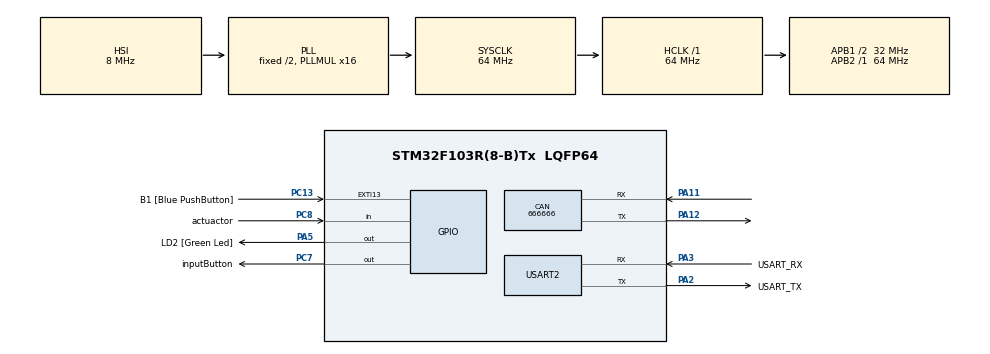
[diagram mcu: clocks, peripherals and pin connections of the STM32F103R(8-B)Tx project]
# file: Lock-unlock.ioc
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CAN.CalculateBaudRate=666666
CAN.CalculateTimeBit=1500
CAN.CalculateTimeQuantum=500.0
FREERTOS.Tasks01=defaultTask,0,128,StartDefaultTask,Default,NULL,Dynamic,NULL,NULL
FREERTOS.configUSE_NEWLIB_REENTRANT=1
Mcu.Family=STM32F1
Mcu.Name=STM32F103R(8-B)Tx
Mcu.Package=LQFP64
NVIC.EXTI15_10_IRQn=true\:5\:0\:false\:false\:true\:true\:true\:true\:true
NVIC.PriorityGroup=NVIC_PRIORITYGROUP_4
NVIC.TIM4_IRQn=true\:15\:0\:false\:false\:true\:false\:false\:true\:true
NVIC.TimeBase=TIM4_IRQn
NVIC.TimeBaseIP=TIM4
PA11.Mode=CAN_Activate
PA11.Signal=CAN_RX
PA12.Mode=CAN_Activate
PA12.Signal=CAN_TX
PA13.GPIO_Label=TMS
PA13.Mode=Serial_Wire
PA13.Signal=SYS_JTMS-SWDIO
PA14.GPIO_Label=TCK
PA14.Mode=Serial_Wire
PA14.Signal=SYS_JTCK-SWCLK
PA2.GPIO_Label=USART_TX
PA2.GPIO_Mode=GPIO_MODE_AF_PP
PA2.GPIO_PuPd=GPIO_NOPULL
PA2.GPIO_Speed=GPIO_SPEED_FREQ_LOW
PA2.Mode=Asynchronous
PA2.Signal=USART2_TX
PA3.GPIO_Label=USART_RX
PA3.GPIO_Mode=GPIO_MODE_AF_PP
PA3.GPIO_PuPd=GPIO_NOPULL
PA3.GPIO_Speed=GPIO_SPEED_FREQ_LOW
PA3.Mode=Asynchronous
PA3.Signal=USART2_RX
PA5.GPIO_Label=LD2 [Green Led]
PA5.GPIO_ModeDefaultOutputPP=GPIO_MODE_OUTPUT_PP
PA5.GPIO_PuPd=GPIO_NOPULL
PA5.GPIO_Speed=GPIO_SPEED_FREQ_LOW
PA5.Signal=GPIO_Output
PB3.GPIO_Label=SWO
PB3.Signal=SYS_JTDO-TRACESWO
PC13-TAMPER-RTC.GPIO_Label=B1 [Blue PushButton]
PC13-TAMPER-RTC.GPIO_ModeDefaultEXTI=GPIO_MODE_IT_FALLING
PC13-TAMPER-RTC.GPIO_PuPd=GPIO_NOPULL
PC13-TAMPER-RTC.Signal=GPXTI13
PC14-OSC32_IN.Mode=LSE-External-Oscillator
PC14-OSC32_IN.Signal=RCC_OSC32_IN
PC15-OSC32_OUT.Mode=LSE-External-Oscillator
PC15-OSC32_OUT.Signal=RCC_OSC32_OUT
PC7.GPIO_Label=inputButton
PC7.Signal=GPIO_Output
PC8.GPIO_Label=actuactor
PC8.Signal=GPIO_Input
PD0-OSC_IN.Mode=HSE-External-Clock-Source
PD0-OSC_IN.Signal=RCC_OSC_IN
PD1-OSC_OUT.Mode=HSE-External-Clock-Source
PD1-OSC_OUT.Signal=RCC_OSC_OUT
ProjectManager.HeapSize=0x200
ProjectManager.StackSize=0x400
ProjectManager.TargetToolchain=STM32CubeIDE
RCC.AHBFreq_Value=64000000
RCC.APB1CLKDivider=RCC_HCLK_DIV2
RCC.APB1Freq_Value=32000000
RCC.APB1TimFreq_Value=64000000
RCC.APB2Freq_Value=64000000
RCC.APB2TimFreq_Value=64000000
RCC.HCLKFreq_Value=64000000
RCC.PLLMUL=RCC_PLL_MUL16
RCC.SYSCLKFreq_VALUE=64000000
RCC.SYSCLKSource=RCC_SYSCLKSOURCE_PLLCLK
RCC.USBFreq_Value=64000000
USART2.VirtualMode=VM_ASYNC
VP_FREERTOS_VS_CMSIS_V1.Mode=CMSIS_V1
VP_SYS_VS_tim4.Mode=TIM4
board=NUCLEO-F103RB

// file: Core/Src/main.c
/* USER CODE BEGIN Header */
/**
  ******************************************************************************
  * @file           : main.c
  * @brief          : Main program body
  ******************************************************************************
  * @attention
  *
  * Copyright (c) 2025 STMicroelectronics.
  * All rights reserved.
  *
  * This software is licensed under terms that can be found in the LICENSE file
  * in the root directory of this software component.
  * If no LICENSE file comes with this software, it is provided AS-IS.
  *
  ******************************************************************************
  */
/* USER CODE END Header */
#include "main.h"
#include "cmsis_os.h"

/* USER CODE BEGIN Includes */
#include <stdio.h>
#include "myprintf.h"
// comentario de Luis
/* USER CODE END Includes */

/* USER CODE BEGIN PTD */
//COMEGNARIO TEST
/* USER CODE END PTD */

CAN_HandleTypeDef hcan;

UART_HandleTypeDef huart2;

osThreadId defaultTaskHandle;
/* USER CODE BEGIN PV */
TaskHandle_t TaskTempHandle;
TaskHandle_t TaskSpeedHandle;
//TaskHandle_t TaskRxHandle;

osThreadId TempTaskHandle;
osThreadId SpeedTaskHandle;
//osThreadId RxTaskHandle;

int16_t temperature = 0;
uint8_t	speed = 0;
uint8_t button_status = 0;

CAN_TxHeaderTypeDef SpeedTxHeader;
CAN_TxHeaderTypeDef TempTxHeader;
CAN_RxHeaderTypeDef RxHeader;
uint8_t TxData = 0x01;
uint8_t RxData[8] = {0};
uint32_t txMailbox;
CAN_FilterTypeDef sf;

osMutexId canMutexHandle;

/* USER CODE END PV */

void SystemClock_Config(void);
static void MX_GPIO_Init(void);
static void MX_CAN_Init(void);
static void MX_USART2_UART_Init(void);
void StartDefaultTask(void const * argument);

/* USER CODE BEGIN PFP */
void StartTempTask(void const * argument);
void StartSpeedTask(void const * argument);
//void StartRxTask(void const * argument);
/* USER CODE END PFP */

/* USER CODE BEGIN 0 */
/*osThreadDef(SpeedTask, StartSpeedTask, osPriorityNormal, 0, 128);
osThreadDef(TempTask, StartTempTask, osPriorityNormal, 0, 128);
osThreadDef(RxTask, StartRxTask, osPriorityHigh, 0, 128);*/
/* USER CODE END 0 */

int main(void)
{

  /* MCU Configuration--------------------------------------------------------*/

  /* Reset of all peripherals, Initializes the Flash interface and the Systick. */
  HAL_Init();

  /* Configure the system clock */
  SystemClock_Config();

  /* Initialize all configured peripherals */
  MX_GPIO_Init();
  MX_CAN_Init();
  MX_USART2_UART_Init();
  /* USER CODE BEGIN 2 */

  RetargetInit(&huart2);

  printf("Iniciando sistema...\r\n");

      /* USER CODE BEGIN 3 */

  /* USER CODE END 2 */

  /* USER CODE BEGIN RTOS_MUTEX */
  /* add mutexes, ... */
  osMutexDef(canMutex);
  canMutexHandle = osMutexCreate(osMutex(canMutex));
  /* USER CODE END RTOS_MUTEX */

  /* Create the thread(s) */
  /* definition and creation of defaultTask */
  osThreadDef(defaultTask, StartDefaultTask, osPriorityNormal, 0, 128);
  defaultTaskHandle = osThreadCreate(osThread(defaultTask), NULL);

  /* USER CODE BEGIN RTOS_THREADS */
  /* add threads, ... */
  osThreadDef(SpeedTask, StartSpeedTask, osPriorityNormal, 0, 512);
  osThreadDef(TempTask, StartTempTask, osPriorityNormal, 0, 512);
//  osThreadDef(RxTask, StartRxTask, osPriorityHigh, 0, 512);

  SpeedTaskHandle = osThreadCreate(osThread(SpeedTask), NULL);
  TempTaskHandle = osThreadCreate(osThread(TempTask), NULL);
//  RxTaskHandle = osThreadCreate(osThread(RxTask), NULL);

  //xTaskCreate(StartSpeedTask, "TaskSpeed", 128, NULL, 1, &TaskSpeedHandle);
  //xTaskCreate(StartTempTask, "TaskTemp", 128, NULL, 1, &TaskTempHandle);
  //xTaskCreate(StartRxTask, "TaskRx", 128, NULL, 2, &TaskRxHandle);
  /* USER CODE END RTOS_THREADS */

  /* Start scheduler */
  osKernelStart();

  /* We should never get here as control is now taken by the scheduler */

  /* Infinite loop */
  while (1)
  {

  }
}

void SystemClock_Config(void)
{
  RCC_OscInitTypeDef RCC_OscInitStruct = {0};
  RCC_ClkInitTypeDef RCC_ClkInitStruct = {0};

  /** Initializes the RCC Oscillators according to the specified parameters
  * in the RCC_OscInitTypeDef structure.
  */
  RCC_OscInitStruct.OscillatorType = RCC_OSCILLATORTYPE_HSI;
  RCC_OscInitStruct.HSIState = RCC_HSI_ON;
  RCC_OscInitStruct.HSICalibrationValue = RCC_HSICALIBRATION_DEFAULT;
  RCC_OscInitStruct.PLL.PLLState = RCC_PLL_ON;
  RCC_OscInitStruct.PLL.PLLSource = RCC_PLLSOURCE_HSI_DIV2;
  RCC_OscInitStruct.PLL.PLLMUL = RCC_PLL_MUL16;
  if (HAL_RCC_OscConfig(&RCC_OscInitStruct) != HAL_OK)
  {
    Error_Handler();
  }

  /** Initializes the CPU, AHB and APB buses clocks
  */
  RCC_ClkInitStruct.ClockType = RCC_CLOCKTYPE_HCLK|RCC_CLOCKTYPE_SYSCLK
                              |RCC_CLOCKTYPE_PCLK1|RCC_CLOCKTYPE_PCLK2;
  RCC_ClkInitStruct.SYSCLKSource = RCC_SYSCLKSOURCE_PLLCLK;
  RCC_ClkInitStruct.AHBCLKDivider = RCC_SYSCLK_DIV1;
  RCC_ClkInitStruct.APB1CLKDivider = RCC_HCLK_DIV2;
  RCC_ClkInitStruct.APB2CLKDivider = RCC_HCLK_DIV1;

  if (HAL_RCC_ClockConfig(&RCC_ClkInitStruct, FLASH_LATENCY_2) != HAL_OK)
  {
    Error_Handler();
  }
}

static void MX_CAN_Init(void)
{

  hcan.Instance = CAN1;
  hcan.Init.Prescaler = 4;
  hcan.Init.Mode = CAN_MODE_NORMAL;
  hcan.Init.SyncJumpWidth = CAN_SJW_1TQ;
  hcan.Init.TimeSeg1 = CAN_BS1_13TQ;
  hcan.Init.TimeSeg2 = CAN_BS2_2TQ;
  hcan.Init.TimeTriggeredMode = DISABLE;
  hcan.Init.AutoBusOff = DISABLE;
  hcan.Init.AutoWakeUp = DISABLE;
  hcan.Init.AutoRetransmission = ENABLE;
  hcan.Init.ReceiveFifoLocked = DISABLE;
  hcan.Init.TransmitFifoPriority = DISABLE;
  if (HAL_CAN_Init(&hcan) != HAL_OK)
  {
    Error_Handler();
  }
  /* USER CODE BEGIN CAN_Init 2 */
  SpeedTxHeader.DLC = 0x01;
  SpeedTxHeader.IDE = CAN_ID_STD;
  SpeedTxHeader.RTR = CAN_RTR_DATA;
  SpeedTxHeader.StdId = 0x10;
  SpeedTxHeader.ExtId = 0x00;
  SpeedTxHeader.TransmitGlobalTime = DISABLE;

  TempTxHeader.DLC = 0x01;
  TempTxHeader.IDE = CAN_ID_STD;
  TempTxHeader.RTR = CAN_RTR_DATA;
  TempTxHeader.StdId = 0x11;
  TempTxHeader.ExtId = 0x00;
  TempTxHeader.TransmitGlobalTime = DISABLE;

  RxHeader.DLC = 0x06;
  RxHeader.ExtId = 0x00;
  RxHeader.StdId = 0x01;
  RxHeader.IDE = CAN_ID_STD;
  RxHeader.RTR = CAN_RTR_DATA;

  sf.FilterBank = 0;
  sf.FilterMode = CAN_FILTERMODE_IDMASK;
  sf.FilterFIFOAssignment = CAN_FILTER_FIFO0;
  sf.FilterIdHigh = 0x0000;
  sf.FilterIdLow = 0x0000;
  sf.FilterMaskIdHigh = 0x0000;
  sf.FilterMaskIdLow = 0x0000;
  sf.FilterScale = CAN_FILTERSCALE_32BIT;
  sf.FilterActivation = CAN_FILTER_ENABLE;
  sf.SlaveStartFilterBank = 15;

  if(HAL_CAN_ConfigFilter(&hcan, &sf))
  {
	  Error_Handler();
  }
  /*if(HAL_CAN_Start(&hcan) != HAL_OK)
  {
	  Error_Handler();
  }*/

  /* USER CODE END CAN_Init 2 */
  if (HAL_CAN_ConfigFilter(&hcan, &sf) != HAL_OK) {
      Error_Handler();
  }
  // 3️⃣ Habilitar interrupción del NVIC
  HAL_NVIC_SetPriority(CAN1_RX0_IRQn, 5, 0);
  HAL_NVIC_EnableIRQ(CAN1_RX0_IRQn);

  // 4️⃣ Activar notificación de recepción
  HAL_CAN_ActivateNotification(&hcan, CAN_IT_RX_FIFO0_MSG_PENDING);

  // 5️⃣ Iniciar el periférico CAN
  if (HAL_CAN_Start(&hcan) != HAL_OK){
    Error_Handler();
  }
}

static void MX_USART2_UART_Init(void)
{

  huart2.Instance = USART2;
  huart2.Init.BaudRate = 115200;
  huart2.Init.WordLength = UART_WORDLENGTH_8B;
  huart2.Init.StopBits = UART_STOPBITS_1;
  huart2.Init.Parity = UART_PARITY_NONE;
  huart2.Init.Mode = UART_MODE_TX_RX;
  huart2.Init.HwFlowCtl = UART_HWCONTROL_NONE;
  huart2.Init.OverSampling = UART_OVERSAMPLING_16;
  if (HAL_UART_Init(&huart2) != HAL_OK)
  {
    Error_Handler();
  }

}

static void MX_GPIO_Init(void)
{
  GPIO_InitTypeDef GPIO_InitStruct = {0};

  /* GPIO Ports Clock Enable */
  __HAL_RCC_GPIOC_CLK_ENABLE();
  __HAL_RCC_GPIOD_CLK_ENABLE();
  __HAL_RCC_GPIOA_CLK_ENABLE();
  __HAL_RCC_GPIOB_CLK_ENABLE();

  /*Configure GPIO pin Output Level */
  HAL_GPIO_WritePin(LD2_GPIO_Port, LD2_Pin, GPIO_PIN_RESET);

  /*Configure GPIO pin Output Level */
  HAL_GPIO_WritePin(inputButton_GPIO_Port, inputButton_Pin, GPIO_PIN_RESET);

  /*Configure GPIO pin : B1_Pin */
  GPIO_InitStruct.Pin = B1_Pin;
  GPIO_InitStruct.Mode = GPIO_MODE_IT_FALLING;
  GPIO_InitStruct.Pull = GPIO_NOPULL;
  HAL_GPIO_Init(B1_GPIO_Port, &GPIO_InitStruct);

  /*Configure GPIO pin : LD2_Pin */
  GPIO_InitStruct.Pin = LD2_Pin;
  GPIO_InitStruct.Mode = GPIO_MODE_OUTPUT_PP;
  GPIO_InitStruct.Pull = GPIO_NOPULL;
  GPIO_InitStruct.Speed = GPIO_SPEED_FREQ_LOW;
  HAL_GPIO_Init(LD2_GPIO_Port, &GPIO_InitStruct);

  /*Configure GPIO pin : inputButton_Pin */
  GPIO_InitStruct.Pin = inputButton_Pin;
  GPIO_InitStruct.Mode = GPIO_MODE_OUTPUT_PP;
  GPIO_InitStruct.Pull = GPIO_NOPULL;
  GPIO_InitStruct.Speed = GPIO_SPEED_FREQ_LOW;
  HAL_GPIO_Init(inputButton_GPIO_Port, &GPIO_InitStruct);

  /*Configure GPIO pin : actuactor_Pin */
  GPIO_InitStruct.Pin = actuactor_Pin;
  GPIO_InitStruct.Mode = GPIO_MODE_INPUT;
  GPIO_InitStruct.Pull = GPIO_NOPULL;
  HAL_GPIO_Init(actuactor_GPIO_Port, &GPIO_InitStruct);

  /* EXTI interrupt init*/
  HAL_NVIC_SetPriority(EXTI15_10_IRQn, 5, 0);
  HAL_NVIC_EnableIRQ(EXTI15_10_IRQn);

}

/* USER CODE BEGIN 4 */
void StartTempTask(void *pvParameters)
{
  // Esta tarea no transmite nada, solo existe para ejemplo.
  for (;;)
  {
    vTaskDelay(pdMS_TO_TICKS(1000));
  }
}

//void StartRxTask(void const * argument)
//{
//	//uint8_t RxData[4];
////	osEvent event;
////	osMutexWait(canMutexHandle, osWaitForever);
//	printf("RxTask\r\n");
//
//	for(;;)
//	{
////		event = osSignalWait(SIG_CAN_RX, osWaitForever);
//
////		ulTaskNotifyTake(pdTRUE, portMAX_DELAY);
////
////		while(HAL_CAN_GetRxFifoFillLevel(&hcan, CAN_RX_FIFO0) > 0)
////		{
////			printf("RxFifo level > 0");
////			if(HAL_CAN_GetRxMessage(&hcan, CAN_RX_FIFO0, &RxHeader, RxData) == HAL_OK)
////			{
////				/*printf("ID:0x%03lX DLC:%lu D:%02X %02X %02X %02X\r\n",
////						RxHeader.StdId, RxHeader.DLC, RxData[0], RxData[1],
////						RxData[2], RxData[3]);*/
////				printf("CAN Rx interrupt...\r\n");
////			}
////		}
//
////		if (event.status == osEventSignal)
////		{
////			printf("Event...");
//////			while(HAL_CAN_GetRxFifoFillLevel(&hcan, CAN_RX_FIFO0) > 0)
//////			{
////				printf("RxFifo level > 0");
////				if(HAL_CAN_GetRxMessage(&hcan, CAN_RX_FIFO0, &RxHeader, RxData) == HAL_OK)
////				{
////					/*printf("ID:0x%03lX DLC:%lu D:%02X %02X %02X %02X\r\n",
////							RxHeader.StdId, RxHeader.DLC, RxData[0], RxData[1],
////							RxData[2], RxData[3]);*/
////					printf("CAN Rx interrupt...\r\n");
////				}
//////			}
////
////
////		}
//
//	}
////	osMutexRelease(canMutexHandle);
//}

void HAL_CAN_RxFifo0MsgPendingCallback(CAN_HandleTypeDef *hcan)
{
//	printf("Interrupción iniciada...\r\n");
//	osSignalSet(RxTaskHandle, SIG_CAN_RX);
//	BaseType_t xHigherPriorityTaskWoken = pdFALSE;
//	vTaskNotifyGiveFromISR(RxTaskHandle, &xHigherPriorityTaskWoken);
//	portYIELD_FROM_ISR(xHigherPriorityTaskWoken);
//	printf("Llamado a tarea Rx\r\n");

	while(HAL_CAN_GetRxFifoFillLevel(hcan, CAN_RX_FIFO0) > 0)
	{
		if(HAL_CAN_GetRxMessage(hcan, CAN_RX_FIFO0, &RxHeader, RxData) == HAL_OK)
		{
			/*printf("ID:0x%03lX DLC:%lu D:%02X %02X %02X %02X\r\n",
					RxHeader.StdId, RxHeader.DLC, RxData[0], RxData[1],
					RxData[2], RxData[3]);*/
			printf("CAN Rx interrupt...\r\n");
		}
	}
}

/* USER CODE BEGIN 4 */

void vApplicationStackOverflowHook(TaskHandle_t xTask, char *pcTaskName)
{
  uint8_t messageData = 0x01; // ejemplo de velocidad simulada
  for (;;)
  {
    if (HAL_CAN_AddTxMessage(&hcan, &SpeedTxHeader, &messageData, &txMailbox) == HAL_OK)
    {
      printf("[CAN TX] ID: 0x%03lX  Data: %02X\r\n", SpeedTxHeader.StdId, messageData);
    }
    else
    {
      printf("[CAN TX] Error al enviar mensaje\r\n");
    }

    vTaskDelay(pdMS_TO_TICKS(1000)); // enviar cada 1s
  }
}

void StartRxTask(void *pvParameters)
{
  printf("StartRxTask iniciada. Esperando mensajes CAN...\r\n");

        printf("[CAN RX] ID: 0x%03lX  DLC:%d  Data:", RxHeader.StdId, RxHeader.DLC);
        for (uint8_t i = 0; i < RxHeader.DLC; i++)
          printf(" %02X", RxData[i]);
        	printf("\r\n");
		vTaskDelay(pdMS_TO_TICKS(1000)); // solo para mantener la tarea viva

    vTaskDelay(pdMS_TO_TICKS(10)); // evita bloquear CPU

}
void HAL_CAN_RxFifo0MsgPendingCallback(CAN_HandleTypeDef *hcan)
{
    CAN_RxHeaderTypeDef rxHeader;
    uint8_t rxData[8];

    if (HAL_CAN_GetRxMessage(hcan, CAN_RX_FIFO0, &rxHeader, rxData) == HAL_OK)
    {
        printf("[CAN RX ISR] ID: 0x%03lX DLC:%d Data:", rxHeader.StdId, rxHeader.DLC);
        for (uint8_t i = 0; i < rxHeader.DLC; i++)
            printf(" %02X", rxData[i]);
        printf("\r\n");
    }
}

/* USER CODE END 4 */

void StartDefaultTask(void const * argument)
{
  /* USER CODE BEGIN 5 */
	if(HAL_CAN_Start(&hcan) != HAL_OK)
	  {
		  Error_Handler();
	  }
	if(HAL_CAN_ActivateNotification(&hcan, CAN_IT_RX_FIFO0_MSG_PENDING) != HAL_OK)
	  {
		  Error_Handler();
	  }
  /* Infinite loop */
  for(;;)
  {
    osDelay(1);
  }
  /* USER CODE END 5 */
}

void HAL_TIM_PeriodElapsedCallback(TIM_HandleTypeDef *htim)
{
  if (htim->Instance == TIM4)
  {
    HAL_IncTick();
  }
}

void Error_Handler(void)
{
  __disable_irq();
  while (1)
  {
  }
}
